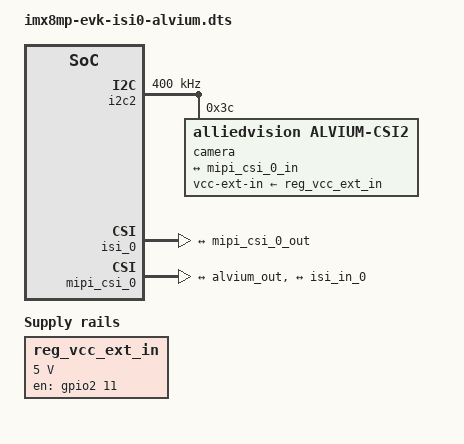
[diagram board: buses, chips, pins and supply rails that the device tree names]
/dts-v1/;
/plugin/;

#include <dt-bindings/clock/imx8mp-clock.h>
#include <dt-bindings/gpio/gpio.h>
#include <dt-bindings/media/video-interfaces.h>
#include "imx8mp-pinfunc.h"

/ {
	fragment@0 {
		target = <&iomuxc>;
		__overlay__ {

			pinctrl_csi0_pwn: csi0_pwn_grp {
				fsl,pins = <
					MX8MP_IOMUXC_SD1_STROBE__GPIO2_IO11	0x19
				>;
			};

			pinctrl_i2c2: i2c2grp {
				fsl,pins = <
					MX8MP_IOMUXC_I2C2_SCL__I2C2_SCL		0x400001c3
					MX8MP_IOMUXC_I2C2_SDA__I2C2_SDA		0x400001c3
				>;
			};
		};
	};

	fragment@1 {
		target-path = "/";
		__overlay__ {
			reg_vcc_ext_in: regulator-vcc-ext-in {
				compatible = "regulator-fixed";
				regulator-name = "vcc-ext-in";
				pinctrl-names = "default";
				pinctrl-0 = <&pinctrl_csi0_pwn>;
				regulator-min-microvolt = <5000000>;
				regulator-max-microvolt = <5000000>;
				gpio = <&gpio2 11 GPIO_ACTIVE_HIGH>;
				regulator-boot-on;
				regulator-always-on;
				enable-active-high;
			};
		};
	};

	fragment@2 {
		target = <&i2c2>;
		__overlay__ {
			#address-cells = <1>;
			#size-cells = <0>;
			clock-frequency = <400000>;
			pinctrl-names = "default";
			pinctrl-0 = <&pinctrl_i2c2>;
			status = "okay";

			camera: alvium@3c {
				compatible = "alliedvision,alvium-csi2";
				reg = <0x3c>;
				vcc-ext-in-supply = <&reg_vcc_ext_in>;
				status = "okay";

				port {
					alvium_out: endpoint {
						remote-endpoint = <&mipi_csi_0_in>;
						data-lanes = <1 2 3 4>;
						link-frequencies = /bits/ 64 <681250000>;
					};
				};
			};
		};
	};

	fragment@3 {
		target = <&isi_0>;
		__overlay__ {
			status = "okay";
			dma-coherent;

			ports {
				port@0 {
					isi_in_0: endpoint {
						bus-type = <MEDIA_BUS_TYPE_PARALLEL>;
						remote-endpoint = <&mipi_csi_0_out>;
					};
				};
			};
		};
	};

	fragment@4 {
		target = <&mipi_csi_0>;
		__overlay__ {
			clock-frequency = <681250000>;
			assigned-clock-rates = <500000000>;
			status = "okay";

			ports {
				port@0 {
					mipi_csi_0_in: endpoint {
						remote-endpoint = <&alvium_out>;
						data-lanes = <1 2 3 4>;
						clock-lanes = <0>;
					};
				};

				port@1 {
					mipi_csi_0_out: endpoint {
						remote-endpoint = <&isi_in_0>;
					};
				};
			};
		};
	};
};
